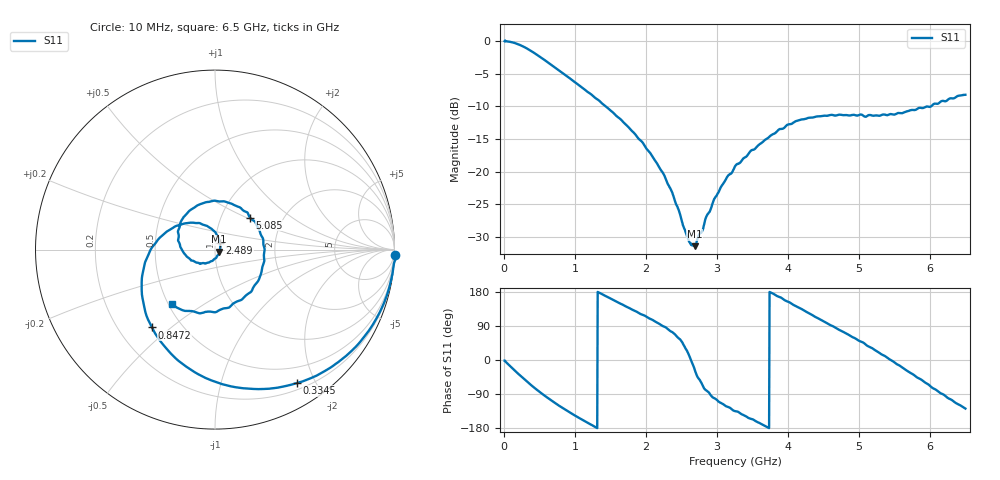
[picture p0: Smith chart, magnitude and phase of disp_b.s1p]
!Keysight Technologies,P9371A,MY57211172,A.13.10.05
!Date: Monday, March 30, 2026 16:00:24
!Correction: S11(Full 2 Port(1,2))
!S1P File: Measurement: S11:
# Hz S  dB  R 50
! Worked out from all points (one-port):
!   1001 points, 10 MHz to 6.5 GHz, reference 50 ohm
!   lowest |S11| = -31.4 dB at 2.69 GHz (marker M1), VSWR 1.06, Z = 52.4 - j1.27 ohm
!   |S11| at or under -10 dB: 1.439 GHz to 6.014 GHz (4.576 GHz wide, 123 % of centre)
!   S11 on the Smith chart (normalised r, x): 10 MHz: -2, -69; 334.5 MHz: 0.28, -1.75; 847.2 MHz: 0.34, -0.43; 2.489 GHz: 1.05, +0.08; 5.085 GHz: 1.37, +0.53; 6.5 GHz: 0.52, -0.37
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1e7  0.01 -1.7
1.0086e8  -0.12 -18.4
1.9172e8  -0.42 -34.6
3.345e8  -1.18 -58.4
4.5132e8  -1.98 -76.6
5.8112e8  -2.94 -95.2
8.2125e8  -4.85 -125.9
8.4721e8  -5.06 -129.0
1.15873e9  -7.59 -163.6
1.40535e9  -9.73 171.4
1.6325e9  -11.85 149.3
2.09329e9  -17.68 105.8
2.25554e9  -20.48 88.0
2.44375e9  -25.35 60.3
2.48918e9  -26.88 52.7
2.61249e9  -30.77 10.3
2.69037e9  -31.41 -26.7
2.96944e9  -24.06 -101.2
3.255e9  -19.17 -135.0
3.63142e9  -15.56 -169.5
4.06625e9  -12.58 146.8
4.4881e9  -11.44 103.5
4.8775e9  -11.38 63.9
5.08518e9  -11.56 42.6
5.35127e9  -11.23 11.9
5.68875e9  -10.71 -29.7
6.16252e9  -9.19 -88.7
6.5e9  -8.21 -128.2
